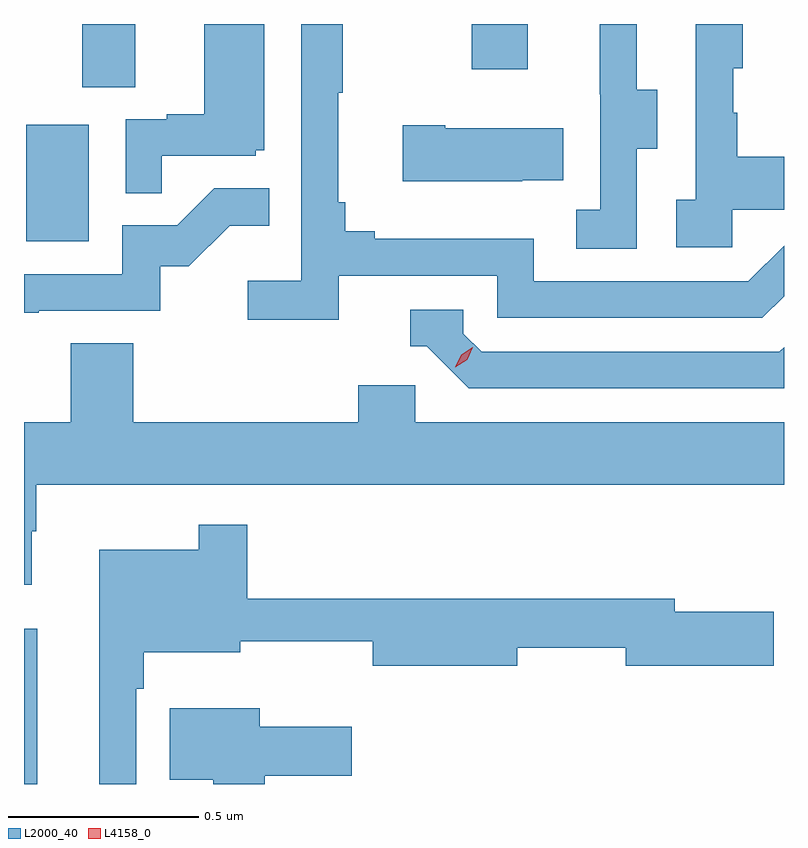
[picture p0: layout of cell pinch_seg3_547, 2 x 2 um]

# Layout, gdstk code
import gdstk
lib = gdstk.Library(unit=1e-6, precision=1e-09)
def R(c, l, rs):  # rectangles x0, y0, x1, y1
    for r in rs: c.add(gdstk.rectangle(r[:2], r[2:], *l))
def P(c, l, *ps):  # polygons
    for p in ps: c.add(gdstk.Polygon(p, *l))
L2000_40 = (2000, 40)
L4158_0 = (4158, 0)

pinch_seg3_547 = lib.new_cell('pinch_seg3_547')
R(pinch_seg3_547, L2000_40, [(1104.152,694.8,1104.187,695.209), (1104.158,696.228,1104.322,696.535), (1104.305,696.634,1104.445,696.8), (1105.33,696.681,1105.477,696.8)])
P(pinch_seg3_547, L2000_40, [(1104.515,696.453),(1104.762,696.453),(1104.762,696.468),(1104.784,696.468),(1104.784,696.8),(1104.626,696.8),(1104.626,696.562),(1104.527,696.562),(1104.527,696.549),(1104.42,696.549),(1104.42,696.355),(1104.515,696.355)],
  [(1106.016,696.311),(1106.152,696.311),(1106.152,696.451),(1106.029,696.451),(1106.029,696.566),(1106.019,696.566),(1106.019,696.684),(1106.044,696.684),(1106.044,696.8),(1105.92,696.8),(1105.92,696.338),(1105.869,696.338),(1105.869,696.213),(1106.016,696.213)],
  [(1105.764,696.472),(1105.819,696.472),(1105.819,696.627),(1105.765,696.627),(1105.765,696.8),(1105.667,696.8),(1105.667,696.615),(1105.668,696.615),(1105.668,696.311),(1105.605,696.311),(1105.605,696.208),(1105.764,696.208)],
  [(1104.98,696.138),(1105.398,696.138),(1105.398,696.027),(1106.095,696.027),(1106.152,696.084),(1106.152,696.217),(1106.058,696.123),(1105.494,696.123),(1105.494,696.235),(1105.075,696.235),(1105.075,696.254),(1104.998,696.254),(1104.998,696.331),(1104.979,696.331),(1104.979,696.619),(1104.991,696.619),(1104.991,696.8),(1104.882,696.8),(1104.882,696.124),(1104.741,696.124),(1104.741,696.022),(1104.98,696.022)],
  [(1105.463,696.389),(1105.571,696.389),(1105.571,696.526),(1105.261,696.526),(1105.261,696.534),(1105.149,696.534),(1105.149,696.386),(1105.463,696.386)],
  [(1104.191,696.045),(1104.51,696.045),(1104.51,696.162),(1104.586,696.162),(1104.693,696.269),(1104.797,696.269),(1104.797,696.368),(1104.653,696.368),(1104.555,696.27),(1104.411,696.27),(1104.411,696.141),(1104.152,696.141),(1104.152,696.04),(1104.191,696.04)],
  [(1106.152,695.95),(1106.139,695.937),(1105.356,695.937),(1105.308,695.985),(1105.308,696.048),(1105.169,696.048),(1105.169,695.952),(1105.212,695.952),(1105.323,695.841),(1106.152,695.841)],
  [(1104.172,695.465),(1104.184,695.465),(1104.184,695.588),(1106.152,695.588),(1106.152,695.752),(1105.182,695.752),(1105.182,695.85),(1105.031,695.85),(1105.031,695.752),(1104.44,695.752),(1104.44,695.96),(1104.275,695.96),(1104.275,695.752),(1104.152,695.752),(1104.152,695.325),(1104.172,695.325)],
  [(1104.447,695.051),(1104.467,695.051),(1104.467,695.147),(1104.721,695.147),(1104.721,695.176),(1105.07,695.176),(1105.07,695.111),(1105.45,695.111),(1105.45,695.158),(1105.736,695.158),(1105.736,695.111),(1106.125,695.111),(1106.125,695.253),(1105.864,695.253),(1105.864,695.287),(1104.74,695.287),(1104.74,695.482),(1104.612,695.482),(1104.612,695.416),(1104.35,695.416),(1104.35,694.8),(1104.447,694.8)],
  [(1104.785,694.822),(1105.015,694.822),(1105.015,694.951),(1104.772,694.951),(1104.772,694.999),(1104.536,694.999),(1104.536,694.811),(1104.65,694.811),(1104.65,694.8),(1104.785,694.8)])
P(pinch_seg3_547, L4158_0, [(1105.287,695.897),(1105.287,695.898),(1105.302,695.93),(1105.333,695.95),(1105.333,695.95),(1105.333,695.95),(1105.318,695.917),(1105.287,695.897)])

lib.write_gds('pinch_seg3_547.gds')
